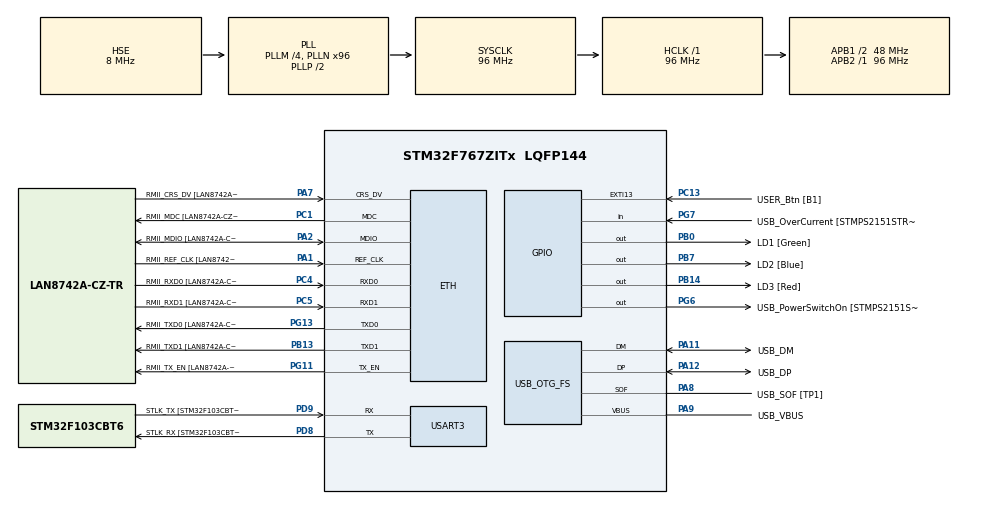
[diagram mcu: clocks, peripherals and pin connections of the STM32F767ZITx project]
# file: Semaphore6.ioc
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ETH.MediaInterface=HAL_ETH_RMII_MODE
ETH.PHY_Name=LAN8742A_PHY_ADDRESS
ETH.PHY_Value=0
ETH.PhyAddress=0
FREERTOS.BinarySemaphores01=semStart,Dynamic,NULL,Depleted;semADC,Dynamic,NULL,Depleted;semCalc,Dynamic,NULL,Depleted;semSave,Dynamic,NULL,Depleted
FREERTOS.Tasks01=adcTask,24,128,StartDefaultADC,Default,NULL,Dynamic,NULL,NULL;calcTask,24,128,StartTaskCalc,Default,NULL,Dynamic,NULL,NULL;saveTask,24,128,StartTaskMedia,Default,NULL,Dynamic,NULL,NULL;sendTask,24,128,StartTaskSend,Default,NULL,Dynamic,NULL,NULL
FREERTOS.configUSE_NEWLIB_REENTRANT=1
Mcu.Family=STM32F7
Mcu.Name=STM32F767ZITx
Mcu.Package=LQFP144
NVIC.EXTI15_10_IRQn=true\:5\:0\:false\:false\:true\:true\:true\:true\:true
NVIC.PriorityGroup=NVIC_PRIORITYGROUP_4
NVIC.TIM6_DAC_IRQn=true\:15\:0\:false\:false\:true\:false\:false\:true\:true
NVIC.TimeBase=TIM6_DAC_IRQn
NVIC.TimeBaseIP=TIM6
PA1.GPIO_Label=RMII_REF_CLK [LAN8742A-CZ-TR_REFCLK0]
PA1.Mode=RMII
PA1.Signal=ETH_REF_CLK
PA10.GPIO_Label=USB_ID
PA10.Signal=USB_OTG_FS_ID
PA11.GPIO_Label=USB_DM
PA11.Mode=Device_Only
PA11.Signal=USB_OTG_FS_DM
PA12.GPIO_Label=USB_DP
PA12.Mode=Device_Only
PA12.Signal=USB_OTG_FS_DP
PA13.GPIO_Label=TMS
PA13.Mode=Serial_Wire
PA13.Signal=SYS_JTMS-SWDIO
PA14.GPIO_Label=TCK
PA14.Mode=Serial_Wire
PA14.Signal=SYS_JTCK-SWCLK
PA2.GPIO_Label=RMII_MDIO [LAN8742A-CZ-TR_MDIO]
PA2.Mode=RMII
PA2.Signal=ETH_MDIO
PA7.GPIO_Label=RMII_CRS_DV [LAN8742A-CZ-TR_CRS_DV]
PA7.Mode=RMII
PA7.Signal=ETH_CRS_DV
PA8.GPIO_Label=USB_SOF [TP1]
PA8.Mode=Activate_SOF_FS
PA8.Signal=USB_OTG_FS_SOF
PA9.GPIO_Label=USB_VBUS
PA9.Mode=Activate_VBUS
PA9.Signal=USB_OTG_FS_VBUS
PB0.GPIO_Label=LD1 [Green]
PB0.Signal=GPIO_Output
PB13.GPIO_Label=RMII_TXD1 [LAN8742A-CZ-TR_TXD1]
PB13.Mode=RMII
PB13.Signal=ETH_TXD1
PB14.GPIO_Label=LD3 [Red]
PB14.Signal=GPIO_Output
PB3.GPIO_Label=SWO
PB3.Signal=SYS_JTDO-SWO
PB7.GPIO_Label=LD2 [Blue]
PB7.Signal=GPIO_Output
PC1.GPIO_Label=RMII_MDC [LAN8742A-CZ-TR_MDC]
PC1.Mode=RMII
PC1.Signal=ETH_MDC
PC13.GPIO_Label=USER_Btn [B1]
PC13.Signal=GPXTI13
PC14/OSC32_IN.Mode=LSE-External-Oscillator
PC14/OSC32_IN.Signal=RCC_OSC32_IN
PC15/OSC32_OUT.Mode=LSE-External-Oscillator
PC15/OSC32_OUT.Signal=RCC_OSC32_OUT
PC4.GPIO_Label=RMII_RXD0 [LAN8742A-CZ-TR_RXD0]
PC4.Mode=RMII
PC4.Signal=ETH_RXD0
PC5.GPIO_Label=RMII_RXD1 [LAN8742A-CZ-TR_RXD1]
PC5.Mode=RMII
PC5.Signal=ETH_RXD1
PD8.GPIO_Label=STLK_RX [STM32F103CBT6_PA3]
PD8.Mode=Asynchronous
PD8.Signal=USART3_TX
PD9.GPIO_Label=STLK_TX [STM32F103CBT6_PA2]
PD9.Mode=Asynchronous
PD9.Signal=USART3_RX
PG11.GPIO_Label=RMII_TX_EN [LAN8742A-CZ-TR_TXEN]
PG11.Mode=RMII
PG11.Signal=ETH_TX_EN
PG13.GPIO_Label=RMII_TXD0 [LAN8742A-CZ-TR_TXD0]
PG13.Mode=RMII
PG13.Signal=ETH_TXD0
PG6.GPIO_Label=USB_PowerSwitchOn [STMPS2151STR_EN]
PG6.Signal=GPIO_Output
PG7.GPIO_Label=USB_OverCurrent [STMPS2151STR_FAULT]
PG7.Signal=GPIO_Input
PH0/OSC_IN.GPIO_Label=MCO [STM32F103CBT6_PA8]
PH0/OSC_IN.Mode=HSE-External-Clock-Source
PH0/OSC_IN.Signal=RCC_OSC_IN
PH1/OSC_OUT.Mode=HSE-External-Clock-Source
PH1/OSC_OUT.Signal=RCC_OSC_OUT
ProjectManager.HeapSize=0x200
ProjectManager.StackSize=0x400
ProjectManager.TargetToolchain=STM32CubeIDE
RCC.48MHZClocksFreq_Value=24000000
RCC.AHBFreq_Value=96000000
RCC.APB1CLKDivider=RCC_HCLK_DIV2
RCC.APB1Freq_Value=48000000
RCC.APB1TimFreq_Value=96000000
RCC.APB2Freq_Value=96000000
RCC.APB2TimFreq_Value=96000000
RCC.CortexFreq_Value=96000000
RCC.HCLKFreq_Value=96000000
RCC.HSE_VALUE=8000000
RCC.HSI_VALUE=16000000
RCC.PLLM=4
RCC.PLLMUL=RCC_PLL_MUL9
RCC.PLLN=96
RCC.PLLQ=4
RCC.PRESCALERUSB=RCC_USBCLKSOURCE_PLL_DIV1_5
RCC.SYSCLKFreq_VALUE=96000000
RCC.SYSCLKSource=RCC_SYSCLKSOURCE_PLLCLK
RCC.SYSCLKSourceVirtual=RCC_SYSCLKSOURCE_PLLCLK
RCC.USBFreq_Value=48000000
RCC.VCOOutputFreq_Value=192000000
USART3.VirtualMode-Asynchronous=VM_ASYNC
USB_OTG_FS.VirtualMode=Device_Only
VP_FREERTOS_VS_CMSIS_V2.Mode=CMSIS_V2
VP_SYS_VS_tim6.Mode=TIM6
board=NUCLEO-F767ZI

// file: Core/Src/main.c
/* USER CODE BEGIN Header */
/**
  ******************************************************************************
  * @file           : main.c
  * @brief          : Main program body
  ******************************************************************************
  * @attention
  *
  * Copyright (c) 2025 STMicroelectronics.
  * All rights reserved.
  *
  * This software is licensed under terms that can be found in the LICENSE file
  * in the root directory of this software component.
  * If no LICENSE file comes with this software, it is provided AS-IS.
  *
  ******************************************************************************
  */
/* USER CODE END Header */
#include "main.h"
#include "string.h"
#include "cmsis_os.h"
#include<stdbool.h>

#if defined ( __ICCARM__ ) /*!< IAR Compiler */
#pragma location=0x2007c000
ETH_DMADescTypeDef  DMARxDscrTab[ETH_RX_DESC_CNT]; /* Ethernet Rx DMA Descriptors */
#pragma location=0x2007c0a0
ETH_DMADescTypeDef  DMATxDscrTab[ETH_TX_DESC_CNT]; /* Ethernet Tx DMA Descriptors */

#elif defined ( __CC_ARM )  /* MDK ARM Compiler */

__attribute__((at(0x2007c000))) ETH_DMADescTypeDef  DMARxDscrTab[ETH_RX_DESC_CNT]; /* Ethernet Rx DMA Descriptors */
__attribute__((at(0x2007c0a0))) ETH_DMADescTypeDef  DMATxDscrTab[ETH_TX_DESC_CNT]; /* Ethernet Tx DMA Descriptors */

#elif defined ( __GNUC__ ) /* GNU Compiler */

ETH_DMADescTypeDef DMARxDscrTab[ETH_RX_DESC_CNT] __attribute__((section(".RxDecripSection"))); /* Ethernet Rx DMA Descriptors */
ETH_DMADescTypeDef DMATxDscrTab[ETH_TX_DESC_CNT] __attribute__((section(".TxDecripSection")));   /* Ethernet Tx DMA Descriptors */
#endif

ETH_TxPacketConfig TxConfig;

ETH_HandleTypeDef heth;

UART_HandleTypeDef huart3;

PCD_HandleTypeDef hpcd_USB_OTG_FS;

/* Definitions for adcTask */
osThreadId_t adcTaskHandle;
const osThreadAttr_t adcTask_attributes = {
  .name = "adcTask",
  .stack_size = 128 * 4,
  .priority = (osPriority_t) osPriorityNormal,
};
/* Definitions for calcTask */
osThreadId_t calcTaskHandle;
const osThreadAttr_t calcTask_attributes = {
  .name = "calcTask",
  .stack_size = 128 * 4,
  .priority = (osPriority_t) osPriorityNormal,
};
/* Definitions for saveTask */
osThreadId_t saveTaskHandle;
const osThreadAttr_t saveTask_attributes = {
  .name = "saveTask",
  .stack_size = 128 * 4,
  .priority = (osPriority_t) osPriorityNormal,
};
/* Definitions for sendTask */
osThreadId_t sendTaskHandle;
const osThreadAttr_t sendTask_attributes = {
  .name = "sendTask",
  .stack_size = 128 * 4,
  .priority = (osPriority_t) osPriorityNormal,
};
/* Definitions for semStart */
osSemaphoreId_t semStartHandle;
const osSemaphoreAttr_t semStart_attributes = {
  .name = "semStart"
};
/* Definitions for semADC */
osSemaphoreId_t semADCHandle;
const osSemaphoreAttr_t semADC_attributes = {
  .name = "semADC"
};
/* Definitions for semCalc */
osSemaphoreId_t semCalcHandle;
const osSemaphoreAttr_t semCalc_attributes = {
  .name = "semCalc"
};
/* Definitions for semSave */
osSemaphoreId_t semSaveHandle;
const osSemaphoreAttr_t semSave_attributes = {
  .name = "semSave"
};

void SystemClock_Config(void);
static void MX_GPIO_Init(void);
static void MX_ETH_Init(void);
static void MX_USART3_UART_Init(void);
static void MX_USB_OTG_FS_PCD_Init(void);
void StartDefaultADC(void *argument);
void StartTaskCalc(void *argument);
void StartTaskMedia(void *argument);
void StartTaskSend(void *argument);

/* USER CODE BEGIN 0 */
uint8_t samples[100];
uint32_t g_avg = 0;
uint32_t historico[10];
uint8_t histIndex = 0;

void HAL_GPIO_EXTI_Callback(uint16_t GPIO_Pin){
	if(GPIO_Pin == GPIO_PIN_13){
		osSemaphoreRelease(semStartHandle);
	}
}
/* USER CODE END 0 */

int main(void)
{

  /* MCU Configuration--------------------------------------------------------*/

  /* Reset of all peripherals, Initializes the Flash interface and the Systick. */
  HAL_Init();

  /* Configure the system clock */
  SystemClock_Config();

  /* Initialize all configured peripherals */
  MX_GPIO_Init();
  MX_ETH_Init();
  MX_USART3_UART_Init();
  MX_USB_OTG_FS_PCD_Init();

  /* Init scheduler */
  osKernelInitialize();

  /* Create the semaphores(s) */
  /* creation of semStart */
  semStartHandle = osSemaphoreNew(1, 0, &semStart_attributes);

  /* creation of semADC */
  semADCHandle = osSemaphoreNew(1, 0, &semADC_attributes);

  /* creation of semCalc */
  semCalcHandle = osSemaphoreNew(1, 0, &semCalc_attributes);

  /* creation of semSave */
  semSaveHandle = osSemaphoreNew(1, 0, &semSave_attributes);

  /* Create the thread(s) */
  /* creation of adcTask */
  adcTaskHandle = osThreadNew(StartDefaultADC, NULL, &adcTask_attributes);

  /* creation of calcTask */
  calcTaskHandle = osThreadNew(StartTaskCalc, NULL, &calcTask_attributes);

  /* creation of saveTask */
  saveTaskHandle = osThreadNew(StartTaskMedia, NULL, &saveTask_attributes);

  /* creation of sendTask */
  sendTaskHandle = osThreadNew(StartTaskSend, NULL, &sendTask_attributes);

  /* Start scheduler */
  osKernelStart();

  /* We should never get here as control is now taken by the scheduler */

  /* Infinite loop */
  while (1)
  {

  }
}

void SystemClock_Config(void)
{
  RCC_OscInitTypeDef RCC_OscInitStruct = {0};
  RCC_ClkInitTypeDef RCC_ClkInitStruct = {0};

  /** Configure LSE Drive Capability
  */
  HAL_PWR_EnableBkUpAccess();

  /** Configure the main internal regulator output voltage
  */
  __HAL_RCC_PWR_CLK_ENABLE();
  __HAL_PWR_VOLTAGESCALING_CONFIG(PWR_REGULATOR_VOLTAGE_SCALE3);

  /** Initializes the RCC Oscillators according to the specified parameters
  * in the RCC_OscInitTypeDef structure.
  */
  RCC_OscInitStruct.OscillatorType = RCC_OSCILLATORTYPE_HSE;
  RCC_OscInitStruct.HSEState = RCC_HSE_BYPASS;
  RCC_OscInitStruct.PLL.PLLState = RCC_PLL_ON;
  RCC_OscInitStruct.PLL.PLLSource = RCC_PLLSOURCE_HSE;
  RCC_OscInitStruct.PLL.PLLM = 4;
  RCC_OscInitStruct.PLL.PLLN = 96;
  RCC_OscInitStruct.PLL.PLLP = RCC_PLLP_DIV2;
  RCC_OscInitStruct.PLL.PLLQ = 4;
  RCC_OscInitStruct.PLL.PLLR = 2;
  if (HAL_RCC_OscConfig(&RCC_OscInitStruct) != HAL_OK)
  {
    Error_Handler();
  }

  /** Activate the Over-Drive mode
  */
  if (HAL_PWREx_EnableOverDrive() != HAL_OK)
  {
    Error_Handler();
  }

  /** Initializes the CPU, AHB and APB buses clocks
  */
  RCC_ClkInitStruct.ClockType = RCC_CLOCKTYPE_HCLK|RCC_CLOCKTYPE_SYSCLK
                              |RCC_CLOCKTYPE_PCLK1|RCC_CLOCKTYPE_PCLK2;
  RCC_ClkInitStruct.SYSCLKSource = RCC_SYSCLKSOURCE_PLLCLK;
  RCC_ClkInitStruct.AHBCLKDivider = RCC_SYSCLK_DIV1;
  RCC_ClkInitStruct.APB1CLKDivider = RCC_HCLK_DIV2;
  RCC_ClkInitStruct.APB2CLKDivider = RCC_HCLK_DIV1;

  if (HAL_RCC_ClockConfig(&RCC_ClkInitStruct, FLASH_LATENCY_3) != HAL_OK)
  {
    Error_Handler();
  }
}

static void MX_ETH_Init(void)
{

   static uint8_t MACAddr[6];

  heth.Instance = ETH;
  MACAddr[0] = 0x00;
  MACAddr[1] = 0x80;
  MACAddr[2] = 0xE1;
  MACAddr[3] = 0x00;
  MACAddr[4] = 0x00;
  MACAddr[5] = 0x00;
  heth.Init.MACAddr = &MACAddr[0];
  heth.Init.MediaInterface = HAL_ETH_RMII_MODE;
  heth.Init.TxDesc = DMATxDscrTab;
  heth.Init.RxDesc = DMARxDscrTab;
  heth.Init.RxBuffLen = 1524;

  if (HAL_ETH_Init(&heth) != HAL_OK)
  {
    Error_Handler();
  }

  memset(&TxConfig, 0 , sizeof(ETH_TxPacketConfig));
  TxConfig.Attributes = ETH_TX_PACKETS_FEATURES_CSUM | ETH_TX_PACKETS_FEATURES_CRCPAD;
  TxConfig.ChecksumCtrl = ETH_CHECKSUM_IPHDR_PAYLOAD_INSERT_PHDR_CALC;
  TxConfig.CRCPadCtrl = ETH_CRC_PAD_INSERT;

}

static void MX_USART3_UART_Init(void)
{

  huart3.Instance = USART3;
  huart3.Init.BaudRate = 115200;
  huart3.Init.WordLength = UART_WORDLENGTH_8B;
  huart3.Init.StopBits = UART_STOPBITS_1;
  huart3.Init.Parity = UART_PARITY_NONE;
  huart3.Init.Mode = UART_MODE_TX_RX;
  huart3.Init.HwFlowCtl = UART_HWCONTROL_NONE;
  huart3.Init.OverSampling = UART_OVERSAMPLING_16;
  huart3.Init.OneBitSampling = UART_ONE_BIT_SAMPLE_DISABLE;
  huart3.AdvancedInit.AdvFeatureInit = UART_ADVFEATURE_NO_INIT;
  if (HAL_UART_Init(&huart3) != HAL_OK)
  {
    Error_Handler();
  }

}

static void MX_USB_OTG_FS_PCD_Init(void)
{

  hpcd_USB_OTG_FS.Instance = USB_OTG_FS;
  hpcd_USB_OTG_FS.Init.dev_endpoints = 6;
  hpcd_USB_OTG_FS.Init.speed = PCD_SPEED_FULL;
  hpcd_USB_OTG_FS.Init.dma_enable = DISABLE;
  hpcd_USB_OTG_FS.Init.phy_itface = PCD_PHY_EMBEDDED;
  hpcd_USB_OTG_FS.Init.Sof_enable = ENABLE;
  hpcd_USB_OTG_FS.Init.low_power_enable = DISABLE;
  hpcd_USB_OTG_FS.Init.lpm_enable = DISABLE;
  hpcd_USB_OTG_FS.Init.vbus_sensing_enable = ENABLE;
  hpcd_USB_OTG_FS.Init.use_dedicated_ep1 = DISABLE;
  if (HAL_PCD_Init(&hpcd_USB_OTG_FS) != HAL_OK)
  {
    Error_Handler();
  }

}

static void MX_GPIO_Init(void)
{
  GPIO_InitTypeDef GPIO_InitStruct = {0};

  /* GPIO Ports Clock Enable */
  __HAL_RCC_GPIOC_CLK_ENABLE();
  __HAL_RCC_GPIOH_CLK_ENABLE();
  __HAL_RCC_GPIOA_CLK_ENABLE();
  __HAL_RCC_GPIOB_CLK_ENABLE();
  __HAL_RCC_GPIOD_CLK_ENABLE();
  __HAL_RCC_GPIOG_CLK_ENABLE();

  /*Configure GPIO pin Output Level */
  HAL_GPIO_WritePin(GPIOB, LD1_Pin|LD3_Pin|LD2_Pin, GPIO_PIN_RESET);

  /*Configure GPIO pin Output Level */
  HAL_GPIO_WritePin(USB_PowerSwitchOn_GPIO_Port, USB_PowerSwitchOn_Pin, GPIO_PIN_RESET);

  /*Configure GPIO pin : USER_Btn_Pin */
  GPIO_InitStruct.Pin = USER_Btn_Pin;
  GPIO_InitStruct.Mode = GPIO_MODE_IT_RISING;
  GPIO_InitStruct.Pull = GPIO_NOPULL;
  HAL_GPIO_Init(USER_Btn_GPIO_Port, &GPIO_InitStruct);

  /*Configure GPIO pins : LD1_Pin LD3_Pin LD2_Pin */
  GPIO_InitStruct.Pin = LD1_Pin|LD3_Pin|LD2_Pin;
  GPIO_InitStruct.Mode = GPIO_MODE_OUTPUT_PP;
  GPIO_InitStruct.Pull = GPIO_NOPULL;
  GPIO_InitStruct.Speed = GPIO_SPEED_FREQ_LOW;
  HAL_GPIO_Init(GPIOB, &GPIO_InitStruct);

  /*Configure GPIO pin : USB_PowerSwitchOn_Pin */
  GPIO_InitStruct.Pin = USB_PowerSwitchOn_Pin;
  GPIO_InitStruct.Mode = GPIO_MODE_OUTPUT_PP;
  GPIO_InitStruct.Pull = GPIO_NOPULL;
  GPIO_InitStruct.Speed = GPIO_SPEED_FREQ_LOW;
  HAL_GPIO_Init(USB_PowerSwitchOn_GPIO_Port, &GPIO_InitStruct);

  /*Configure GPIO pin : USB_OverCurrent_Pin */
  GPIO_InitStruct.Pin = USB_OverCurrent_Pin;
  GPIO_InitStruct.Mode = GPIO_MODE_INPUT;
  GPIO_InitStruct.Pull = GPIO_NOPULL;
  HAL_GPIO_Init(USB_OverCurrent_GPIO_Port, &GPIO_InitStruct);

  /* EXTI interrupt init*/
  HAL_NVIC_SetPriority(EXTI15_10_IRQn, 5, 0);
  HAL_NVIC_EnableIRQ(EXTI15_10_IRQn);

}

void StartDefaultADC(void *argument)
{
  /* USER CODE BEGIN 5 */
  /* Infinite loop */
  for(;;)
  {
    osSemaphoreAcquire(semStartHandle, osWaitForever);
    for(int i = 0; i<100; i++){
        	/*HAL_ADC_Init(&hadc1);
        	HAL_ADC_PollForConversion(&hadc1, HAL_MAX_DELAY);
        	samples[i] = HAL_ADC_GetValue(&hadc1);
        	osDelay(10);*/
        	samples[i] = i;
    }
    osSemaphoreRelease(semADCHandle);
  }

  /* USER CODE END 5 */
}

void StartTaskCalc(void *argument)
{
  /* USER CODE BEGIN StartTaskCalc */
	uint32_t avg = 0;
  /* Infinite loop */
  for(;;)
  {
    osSemaphoreAcquire(semADCHandle, osWaitForever);
    for(int i = 0; i<100; i++){
    	avg += samples[i];
    	osDelay(1);
    }
    g_avg = avg/100;

    osSemaphoreRelease(semCalcHandle);

  }
  /* USER CODE END StartTaskCalc */
}

void StartTaskMedia(void *argument)
{
  /* USER CODE BEGIN StartTaskMedia */
  /* Infinite loop */
  for(;;)
  {
    osSemaphoreAcquire(semCalcHandle, osWaitForever);
    historico[histIndex] = g_avg;
    histIndex++;
	if (histIndex >= 9) histIndex = 0;

	osSemaphoreRelease(semSaveHandle);

  }
  /* USER CODE END StartTaskMedia */
}

void StartTaskSend(void *argument)
{
  /* USER CODE BEGIN StartTaskSend */
	char buf[64];
  /* Infinite loop */
  for(;;)
  {
    osSemaphoreAcquire(semSaveHandle, osWaitForever);
    snprintf(buf, sizeof(buf), "Sending Average: %lu \r \n: ", historico[histIndex-1]);
    HAL_UART_Transmit(&huart3, (uint8_t*)buf, strlen(buf), HAL_MAX_DELAY);

  }
  /* USER CODE END StartTaskSend */
}

void HAL_TIM_PeriodElapsedCallback(TIM_HandleTypeDef *htim)
{
  if (htim->Instance == TIM6) {
    HAL_IncTick();
  }
}

void Error_Handler(void)
{
  __disable_irq();
  while (1)
  {
  }
}
